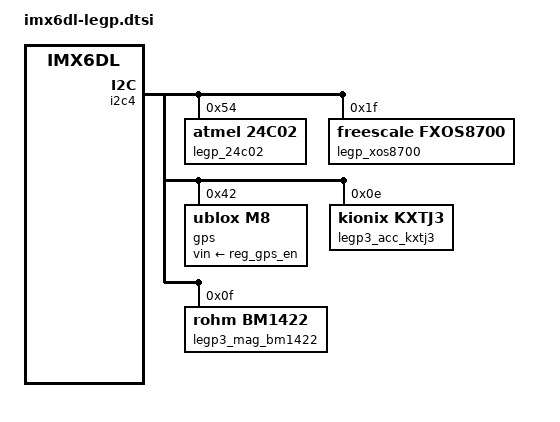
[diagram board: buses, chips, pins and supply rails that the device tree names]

/*
 * Copyright 2016 FLIR Systems.
 *
 * The code contained herein is licensed under the GNU General Public
 * License. You may obtain a copy of the GNU General Public License
 * Version 2 or later at the following locations:
 *
 * http://www.opensource.org/licenses/gpl-license.html
 * http://www.gnu.org/copyleft/gpl.html
 */

#include <dt-bindings/input/input.h>

&i2c4 {
      legp_24c02: legp_24c02@54 {
		compatible = "atmel,24c02";
		reg = <0x54>;
		pagesize = <16>;
		};

      legp_xos8700:legp_fxos8700@1f  {
		compatible = "freescale,fxos8700";
		reg = <0x1f>;
		position = <9>; ////X = Y, Y=X, Z=-Z  se fxos8700.c
		};

	gps:legp_gps@42 {
		compatible = "ublox,m8";
		reg = <0x42>;
                interrupt-pin = <&gpio7 12 GPIO_ACTIVE_HIGH>;
                reset-pin = <&leif_pca9534_0x46 6 GPIO_ACTIVE_HIGH>;
                vin-supply = <&reg_gps_en>;
	};

	legp3_acc_kxtj3: legp3_acc_kxtj3@0E {
		compatible = "kionix,kxtj3";
		reg = <0x0E>;
		// Remap axes for appcore
		axis-map-x = <1>;
		axis-map-y = <0>;
		axis-map-z = <2>;
		negate-z;
		is-sensor-accel;
	};

	legp3_mag_bm1422: legp3_mag_bm1422@0F {
		compatible = "rohm,bm1422";
		reg = <0x0F>;
		// Remap axes for appcore
		axis-map-x = <1>;
		axis-map-y = <0>;
		axis-map-z = <2>;
		negate-z;
	};
};
